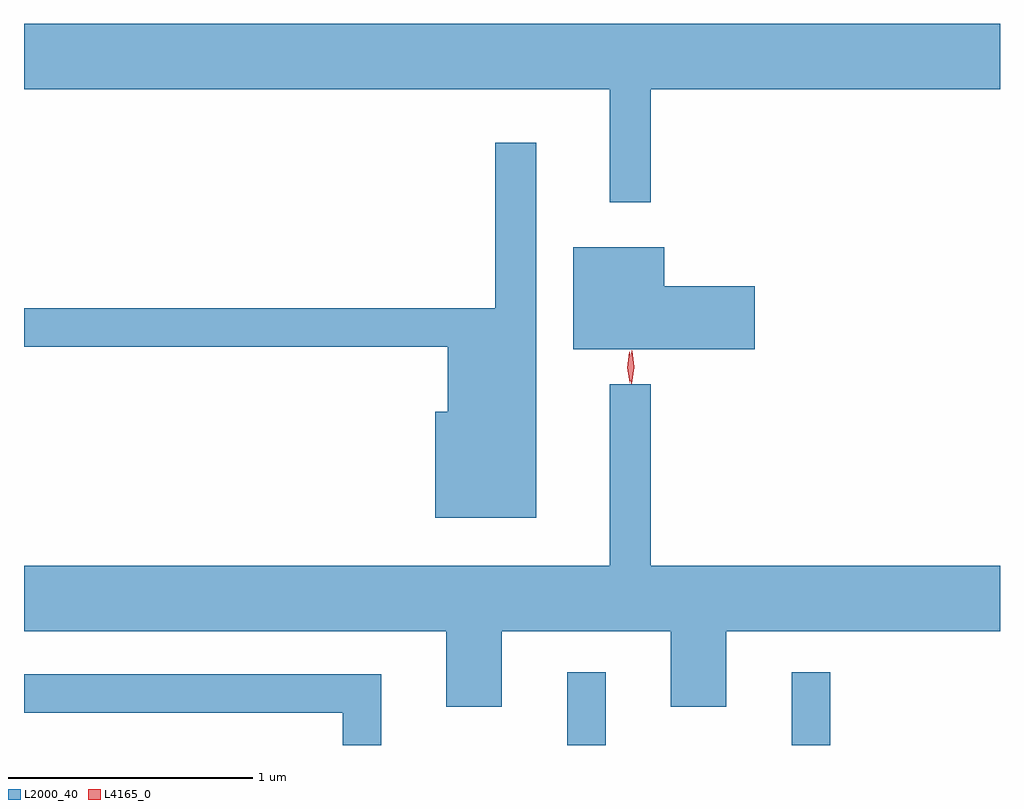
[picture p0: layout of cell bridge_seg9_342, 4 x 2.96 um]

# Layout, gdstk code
import gdstk
lib = gdstk.Library(unit=1e-6, precision=1e-09)
def R(c, l, rs):  # rectangles x0, y0, x1, y1
    for r in rs: c.add(gdstk.rectangle(r[:2], r[2:], *l))
def P(c, l, *ps):  # polygons
    for p in ps: c.add(gdstk.Polygon(p, *l))
L2000_40 = (2000, 40)
L4165_0 = (4165, 0)

bridge_seg9_342 = lib.new_cell('bridge_seg9_342')
R(bridge_seg9_342, L2000_40, [(766.766,1998.009,766.924,1998.308), (767.686,1998.009,767.844,1998.308)])
P(bridge_seg9_342, L2000_40, [(767.109,2000.696),(768.54,2000.696),(768.54,2000.964),(764.54,2000.964),(764.54,2000.696),(766.941,2000.696),(766.941,2000.233),(767.109,2000.233)],
  [(766.639,2000.478),(766.471,2000.478),(766.471,1999.799),(764.54,1999.799),(764.54,1999.641),(766.276,1999.641),(766.276,1999.374),(766.226,1999.374),(766.226,1998.941),(766.639,1998.941)],
  [(767.534,1999.889),(767.164,1999.889),(767.164,2000.049),(766.791,2000.049),(766.791,1999.631),(767.534,1999.631)],
  [(766.499,1998.476),(767.191,1998.476),(767.191,1998.166),(767.419,1998.166),(767.419,1998.476),(768.54,1998.476),(768.54,1998.744),(767.109,1998.744),(767.109,1999.488),(766.941,1999.488),(766.941,1998.744),(764.54,1998.744),(764.54,1998.476),(766.271,1998.476),(766.271,1998.166),(766.499,1998.166)],
  [(766.004,1998.299),(764.54,1998.299),(764.54,1998.141),(765.846,1998.141),(765.846,1998.009),(766.004,1998.009)])
P(bridge_seg9_342, L4165_0, [(767.022,1999.493),(767.022,1999.493),(767.012,1999.556),(767.021,1999.619),(767.022,1999.62),(767.022,1999.619),(767.032,1999.556),(767.022,1999.493)],
  [(767.029,1999.49),(767.02,1999.558),(767.031,1999.625),(767.031,1999.626),(767.032,1999.625),(767.04,1999.558),(767.03,1999.49),(767.03,1999.49)])

lib.write_gds('bridge_seg9_342.gds')
